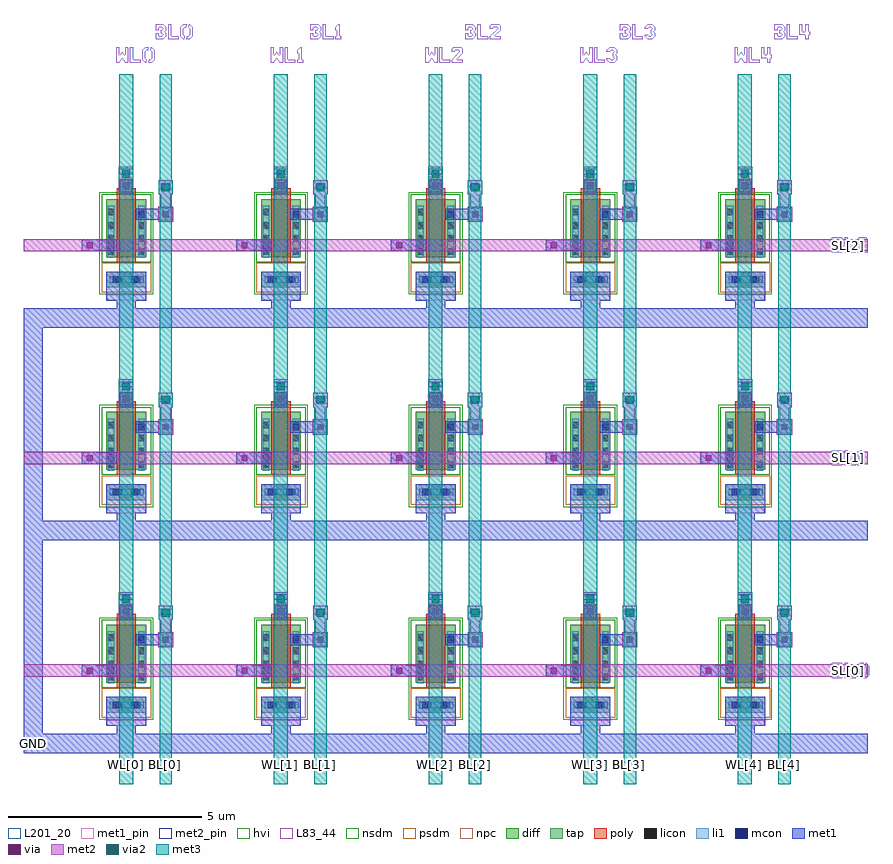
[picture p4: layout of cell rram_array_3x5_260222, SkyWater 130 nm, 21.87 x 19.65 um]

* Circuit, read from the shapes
.subckt rram_array_3x5_260222 BL[0] BL[1] BL[2] BL[3] BL[4] GND SL[0] SL[1] SL[2] WL[0] WL[1] WL[2] WL[3] WL[4]
XM1 BL[0] WL[0] SL[0] GND sky130_fd_pr__nfet_g5v0d10v5 w=1.5 l=0.5
XM2 BL[0] WL[0] SL[1] GND sky130_fd_pr__nfet_g5v0d10v5 w=1.5 l=0.5
XM3 BL[0] WL[0] SL[2] GND sky130_fd_pr__nfet_g5v0d10v5 w=1.5 l=0.5
XM4 BL[1] WL[1] SL[0] GND sky130_fd_pr__nfet_g5v0d10v5 w=1.5 l=0.5
XM5 BL[1] WL[1] SL[1] GND sky130_fd_pr__nfet_g5v0d10v5 w=1.5 l=0.5
XM6 BL[1] WL[1] SL[2] GND sky130_fd_pr__nfet_g5v0d10v5 w=1.5 l=0.5
XM7 BL[2] WL[2] SL[0] GND sky130_fd_pr__nfet_g5v0d10v5 w=1.5 l=0.5
XM8 BL[2] WL[2] SL[1] GND sky130_fd_pr__nfet_g5v0d10v5 w=1.5 l=0.5
XM9 BL[2] WL[2] SL[2] GND sky130_fd_pr__nfet_g5v0d10v5 w=1.5 l=0.5
XM10 BL[3] WL[3] SL[0] GND sky130_fd_pr__nfet_g5v0d10v5 w=1.5 l=0.5
XM11 BL[3] WL[3] SL[1] GND sky130_fd_pr__nfet_g5v0d10v5 w=1.5 l=0.5
XM12 BL[3] WL[3] SL[2] GND sky130_fd_pr__nfet_g5v0d10v5 w=1.5 l=0.5
XM13 BL[4] WL[4] SL[0] GND sky130_fd_pr__nfet_g5v0d10v5 w=1.5 l=0.5
XM14 BL[4] WL[4] SL[1] GND sky130_fd_pr__nfet_g5v0d10v5 w=1.5 l=0.5
XM15 BL[4] WL[4] SL[2] GND sky130_fd_pr__nfet_g5v0d10v5 w=1.5 l=0.5
.ends

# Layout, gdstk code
from math import pi, radians
import gdstk
lib = gdstk.Library(unit=1e-6, precision=1e-09)
def R(c, l, rs):  # rectangles x0, y0, x1, y1
    for r in rs: c.add(gdstk.rectangle(r[:2], r[2:], *l))
def A(c, l, x, y, w, h, nx, ny, dx, dy):  # array of equal rectangles
    R(c, l, [(x+i*dx, y+j*dy, x+i*dx+w, y+j*dy+h) for i in range(nx) for j in range(ny)])
def P(c, l, *ps):  # polygons
    for p in ps: c.add(gdstk.Polygon(p, *l))
diff = (65, 20)
tap = (65, 44)
poly = (66, 20)
licon = (66, 44)
li1 = (67, 20)
mcon = (67, 44)
met1_pin = (68, 16)
met1 = (68, 20)
via = (68, 44)
met2_pin = (69, 16)
met2 = (69, 20)
via2 = (69, 44)
met3 = (70, 20)
hvi = (75, 20)
L83_44 = (83, 44)
nsdm = (93, 44)
psdm = (94, 20)
npc = (95, 20)
L201_20 = (201, 20)

m1m2_c_cdns_630369580172 = lib.new_cell('M1M2_C_CDNS_6303695801725')
R(m1m2_c_cdns_630369580172, met1, [(-0.16,-0.16,0.16,0.16)])
R(m1m2_c_cdns_630369580172, via, [(-0.075,-0.075,0.075,0.075)])
R(m1m2_c_cdns_630369580172, met2, [(-0.16,-0.16,0.16,0.16)])

dfl1sd_cdns_630369580179 = lib.new_cell('DFL1sd_CDNS_630369580179')
R(dfl1sd_cdns_630369580179, diff, [(0,0,0.265,1.5)])
A(dfl1sd_cdns_630369580179, licon, 0.055, 0.06, 0.17, 0.17, 1, 4, 0, 0.34)
R(dfl1sd_cdns_630369580179, li1, [(0.055,-0.02,0.225,1.33)])
R(dfl1sd_cdns_630369580179, nsdm, [(-0.125,-0.125,0.39,1.625)])

nfet_symbolic_cdns_63036 = lib.new_cell('nfet_symbolic_CDNS_630369580178')
R(nfet_symbolic_cdns_63036, diff, [(-0.25,0,0,1.5), (0,0,0.5,1.5), (0.5,0,0.75,1.5)])
R(nfet_symbolic_cdns_63036, poly, [(0,-0.13,0.5,1.63), (0,-0.13,0.5,0), (0,1.5,0.5,1.63)])
R(nfet_symbolic_cdns_63036, li1, [(-0.225,-0.02,-0.055,1.33), (0.555,-0.02,0.725,1.33)])
R(nfet_symbolic_cdns_63036, nsdm, [(-0.25,-0.125,0.75,1.625)])
nfet_symbolic_cdns_63036.add(gdstk.Reference(dfl1sd_cdns_630369580179, (0.5,0)))
nfet_symbolic_cdns_63036.add(gdstk.Reference(dfl1sd_cdns_630369580179, (0,0), rotation=pi, x_reflection=True))
nfet_symbolic_cdns_63036.add(gdstk.Label('D', (0.64,0.655), layer=83, texttype=44))
nfet_symbolic_cdns_63036.add(gdstk.Label('S', (-0.14,0.655), layer=83, texttype=44))

nfet_cdns_630369580177 = lib.new_cell('nfet_CDNS_630369580177')
R(nfet_cdns_630369580177, hvi, [(-0.445,-0.18,0.945,1.68)])
nfet_cdns_630369580177.add(gdstk.Reference(nfet_symbolic_cdns_63036, (0,0)))

l1m1_c_cdns_630369580173 = lib.new_cell('L1M1_C_CDNS_6303695801734')
R(l1m1_c_cdns_630369580173, li1, [(-0.085,-0.085,0.085,0.085)])
R(l1m1_c_cdns_630369580173, mcon, [(-0.085,-0.085,0.085,0.085)])
R(l1m1_c_cdns_630369580173, met1, [(-0.145,-0.145,0.145,0.145)])

pyl1_c_cdns_630369580173 = lib.new_cell('PYL1_C_CDNS_6303695801737')
R(pyl1_c_cdns_630369580173, poly, [(-0.165,-0.165,0.165,0.165)])
R(pyl1_c_cdns_630369580173, licon, [(-0.085,-0.085,0.085,0.085)])
R(pyl1_c_cdns_630369580173, li1, [(-0.165,-0.165,0.165,0.165)])
R(pyl1_c_cdns_630369580173, npc, [(-0.185,-0.185,0.185,0.185)])

l1m1_c_cdns_630369580172 = lib.new_cell('L1M1_C_CDNS_6303695801729')
R(l1m1_c_cdns_630369580172, li1, [(-0.085,-0.085,0.085,0.085)])
R(l1m1_c_cdns_630369580172, mcon, [(-0.085,-0.085,0.085,0.085)])
R(l1m1_c_cdns_630369580172, met1, [(-0.16,-0.16,0.16,0.16)])

sky130_fd_pr_reram__rera = lib.new_cell('sky130_fd_pr_reram__reram_cell')
R(sky130_fd_pr_reram__rera, met1_pin, [(-0.195,-0.195,0.195,0.195)])
R(sky130_fd_pr_reram__rera, met1, [(-0.195,-0.195,0.195,0.195)])
R(sky130_fd_pr_reram__rera, via, [(-0.075,-0.075,0.075,0.075)])
R(sky130_fd_pr_reram__rera, met2_pin, [(-0.195,-0.195,0.195,0.195)])
R(sky130_fd_pr_reram__rera, met2, [(-0.195,-0.195,0.195,0.195)])
R(sky130_fd_pr_reram__rera, L201_20, [(-0.16,-0.16,0.16,0.16)])
sky130_fd_pr_reram__rera.add(gdstk.Label('TE', (0,0), layer=69, texttype=5))
sky130_fd_pr_reram__rera.add(gdstk.Label('BE', (0,0), layer=68, texttype=5))

rram_1t1r_new = lib.new_cell('RRAM_1T1R_new')
R(rram_1t1r_new, tap, [(0.18,-0.6,1.21,-0.19)])
R(rram_1t1r_new, poly, [(0.445,1.81,0.945,1.96)])
R(rram_1t1r_new, licon, [(0.415,-0.48,0.585,-0.31), (0.89,-0.48,1.06,-0.31)])
R(rram_1t1r_new, li1, [(0.27,-0.48,1.15,-0.31)])
R(rram_1t1r_new, mcon, [(0.35,-0.48,0.52,-0.31), (0.83,-0.48,1,-0.31)])
R(rram_1t1r_new, met1_pin, [(0.185,-0.935,1.195,-0.795), (-0.45,0.35,-0.265,0.625)])
R(rram_1t1r_new, met1, [(0.18,-0.94,1.21,-0.19), (-0.46,0.345,0.45,0.635), (0.94,1.145,1.575,1.435)])
R(rram_1t1r_new, met2_pin, [(1.59,1.93,1.835,2.085), (0.51,2.325,0.87,2.465)])
R(rram_1t1r_new, met2, [(1.585,1.445,1.84,2.09), (0.505,1.82,0.875,2.47)])
R(rram_1t1r_new, hvi, [(0,-0.78,1.39,0)])
R(rram_1t1r_new, psdm, [(0.055,-0.725,1.34,0.035)])
rram_1t1r_new.add(gdstk.Reference(m1m2_c_cdns_630369580172, (0.69,2.02)))
rram_1t1r_new.add(gdstk.Reference(nfet_cdns_630369580177, (0.445,0.18)))
rram_1t1r_new.add(gdstk.Reference(l1m1_c_cdns_630369580173, (0.305,0.49)))
rram_1t1r_new.add(gdstk.Reference(l1m1_c_cdns_630369580173, (1.085,1.29)))
rram_1t1r_new.add(gdstk.Reference(pyl1_c_cdns_630369580173, (0.69,2.02)))
rram_1t1r_new.add(gdstk.Reference(l1m1_c_cdns_630369580172, (0.69,2.02)))
rram_1t1r_new.add(gdstk.Reference(sky130_fd_pr_reram__rera, (1.715,1.29)))
rram_1t1r_new.add(gdstk.Label('VWL', (0.69,2.39), layer=69, texttype=16))
rram_1t1r_new.add(gdstk.Label('VBL', (1.71,2.01), layer=69, texttype=16))
rram_1t1r_new.add(gdstk.Label('GND', (0.705,-0.87), layer=68, texttype=16))
rram_1t1r_new.add(gdstk.Label('VS', (-0.35,0.495), layer=68, texttype=16))

via_m2_m3 = lib.new_cell('via_m2_m3')
R(via_m2_m3, met2, [(-0.185,-0.185,0.185,0.185)])
R(via_m2_m3, via2, [(-0.1,-0.1,0.1,0.1)])
R(via_m2_m3, met3, [(-0.185,-0.185,0.185,0.185)])

via_m1_m2 = lib.new_cell('via_m1_m2')
R(via_m1_m2, met1, [(-0.16,-0.16,0.16,0.16)])
R(via_m1_m2, via, [(-0.075,-0.075,0.075,0.075)])
R(via_m1_m2, met2, [(-0.16,-0.16,0.16,0.16)])

text_gdsfactorypcomponen = lib.new_cell('text_gdsfactorypcomponentsptextsptext_TWL0_S0p4_P0_0_Jl_48763778')
P(text_gdsfactorypcomponen, L83_44, [(0.04,0),(0.04,0.4),(0.12,0.4),(0.12,0.16),(0.2,0.28),(0.28,0.16),(0.28,0.4),(0.36,0.4),(0.36,0),(0.28,0),(0.2,0.12),(0.12,0)],
  [(0.4,0),(0.4,0.4),(0.48,0.4),(0.48,0.08),(0.68,0.08),(0.68,0)],
  [(0.8,0),(0.72,0.08),(0.72,0.32),(0.8,0.4),(0.892,0.4),(0.872,0.32),(0.84,0.32),(0.8,0.28),(0.8,0.12),(0.84,0.08),(0.82,0)],
  [(0.868,0),(0.888,0.08),(0.92,0.08),(0.96,0.12),(0.96,0.28),(0.92,0.32),(0.94,0.4),(0.96,0.4),(1.04,0.32),(1.04,0.08),(0.96,0)])

c_text_gdsfactorypcomponen = lib.new_cell('text_gdsfactorypcomponentsptextsptext_TWL1_S0p4_P0_0_Jl_dfcae168')
P(c_text_gdsfactorypcomponen, L83_44, [(0.04,0),(0.04,0.4),(0.12,0.4),(0.12,0.16),(0.2,0.28),(0.28,0.16),(0.28,0.4),(0.36,0.4),(0.36,0),(0.28,0),(0.2,0.12),(0.12,0)],
  [(0.4,0),(0.4,0.4),(0.48,0.4),(0.48,0.08),(0.68,0.08),(0.68,0)],
  [(0.72,0),(0.72,0.08),(0.76,0.08),(0.76,0.24),(0.72,0.24),(0.72,0.32),(0.8,0.4),(0.84,0.4),(0.84,0.08),(0.88,0.08),(0.88,0)])

c_text_gdsfactorypcomponen_ = lib.new_cell('text_gdsfactorypcomponentsptextsptext_TWL2_S0p4_P0_0_Jl_bc1f6423')
P(c_text_gdsfactorypcomponen_, L83_44, [(0.04,0),(0.04,0.4),(0.12,0.4),(0.12,0.16),(0.2,0.28),(0.28,0.16),(0.28,0.4),(0.36,0.4),(0.36,0),(0.28,0),(0.2,0.12),(0.12,0)],
  [(0.4,0),(0.4,0.4),(0.48,0.4),(0.48,0.08),(0.68,0.08),(0.68,0)],
  [(0.72,0),(0.72,0.08),(0.92,0.28),(0.92,0.32),(0.8,0.32),(0.8,0.28),(0.72,0.28),(0.72,0.36),(0.76,0.4),(0.96,0.4),(1,0.36),(1,0.24),(0.84,0.08),(1,0.08),(1,0)])

c_text_gdsfactorypcomponen__ = lib.new_cell('text_gdsfactorypcomponentsptextsptext_TWL3_S0p4_P0_0_Jl_83d8f4f6')
P(c_text_gdsfactorypcomponen__, L83_44, [(0.04,0),(0.04,0.4),(0.12,0.4),(0.12,0.16),(0.2,0.28),(0.28,0.16),(0.28,0.4),(0.36,0.4),(0.36,0),(0.28,0),(0.2,0.12),(0.12,0)],
  [(0.4,0),(0.4,0.4),(0.48,0.4),(0.48,0.08),(0.68,0.08),(0.68,0)],
  [(0.8,0),(0.72,0.08),(0.72,0.12),(0.8,0.12),(0.84,0.08),(0.88,0.08),(0.92,0.12),(0.88,0.16),(0.88,0.24),(0.92,0.28),(0.88,0.32),(0.84,0.32),(0.8,0.28),(0.72,0.28),(0.72,0.32),(0.8,0.4),(0.92,0.4),(1,0.32),(1,0.24),(0.96,0.2),(1,0.16),(1,0.08),(0.92,0)])

c_text_gdsfactorypcomponen___ = lib.new_cell('text_gdsfactorypcomponentsptextsptext_TWL4_S0p4_P0_0_Jl_9684d18e')
P(c_text_gdsfactorypcomponen___, L83_44, [(0.04,0),(0.04,0.4),(0.12,0.4),(0.12,0.16),(0.2,0.28),(0.28,0.16),(0.28,0.4),(0.36,0.4),(0.36,0),(0.28,0),(0.2,0.12),(0.12,0)],
  [(0.4,0),(0.4,0.4),(0.48,0.4),(0.48,0.08),(0.68,0.08),(0.68,0)],
  [(0.88,0),(0.88,0.12),(0.72,0.12),(0.72,0.4),(0.8,0.4),(0.8,0.2),(0.88,0.2),(0.88,0.4),(0.96,0.4),(0.96,0.2),(1,0.2),(1,0.12),(0.96,0.12),(0.96,0)])

c_text_gdsfactorypcomponen____ = lib.new_cell('text_gdsfactorypcomponentsptextsptext_TBL0_S0p4_P0_0_Jl_7cfb7175')
P(c_text_gdsfactorypcomponen____, L83_44, [(0.04,0),(0.04,0.16),(0.12,0.16),(0.12,0.08),(0.2,0.08),(0.24,0.12),(0.2,0.16),(0.168,0.16),(0.168,0.24),(0.2,0.24),(0.24,0.28),(0.2,0.32),(0.12,0.32),(0.12,0.24),(0.04,0.24),(0.04,0.4),(0.24,0.4),(0.32,0.32),(0.32,0.24),(0.28,0.2),(0.32,0.16),(0.32,0.08),(0.24,0)],
  [(0.36,0),(0.36,0.4),(0.44,0.4),(0.44,0.08),(0.64,0.08),(0.64,0)],
  [(0.76,0),(0.68,0.08),(0.68,0.32),(0.76,0.4),(0.852,0.4),(0.832,0.32),(0.8,0.32),(0.76,0.28),(0.76,0.12),(0.8,0.08),(0.78,0)],
  [(0.828,0),(0.848,0.08),(0.88,0.08),(0.92,0.12),(0.92,0.28),(0.88,0.32),(0.9,0.4),(0.92,0.4),(1,0.32),(1,0.08),(0.92,0)])

c_text_gdsfactorypcomponen_____ = lib.new_cell('text_gdsfactorypcomponentsptextsptext_TBL1_S0p4_P0_0_Jl_855cb253')
P(c_text_gdsfactorypcomponen_____, L83_44, [(0.04,0),(0.04,0.16),(0.12,0.16),(0.12,0.08),(0.2,0.08),(0.24,0.12),(0.2,0.16),(0.168,0.16),(0.168,0.24),(0.2,0.24),(0.24,0.28),(0.2,0.32),(0.12,0.32),(0.12,0.24),(0.04,0.24),(0.04,0.4),(0.24,0.4),(0.32,0.32),(0.32,0.24),(0.28,0.2),(0.32,0.16),(0.32,0.08),(0.24,0)],
  [(0.36,0),(0.36,0.4),(0.44,0.4),(0.44,0.08),(0.64,0.08),(0.64,0)],
  [(0.68,0),(0.68,0.08),(0.72,0.08),(0.72,0.24),(0.68,0.24),(0.68,0.32),(0.76,0.4),(0.8,0.4),(0.8,0.08),(0.84,0.08),(0.84,0)])

c_text_gdsfactorypcomponen______ = lib.new_cell('text_gdsfactorypcomponentsptextsptext_TBL2_S0p4_P0_0_Jl_698e9a9f')
P(c_text_gdsfactorypcomponen______, L83_44, [(0.04,0),(0.04,0.16),(0.12,0.16),(0.12,0.08),(0.2,0.08),(0.24,0.12),(0.2,0.16),(0.168,0.16),(0.168,0.24),(0.2,0.24),(0.24,0.28),(0.2,0.32),(0.12,0.32),(0.12,0.24),(0.04,0.24),(0.04,0.4),(0.24,0.4),(0.32,0.32),(0.32,0.24),(0.28,0.2),(0.32,0.16),(0.32,0.08),(0.24,0)],
  [(0.36,0),(0.36,0.4),(0.44,0.4),(0.44,0.08),(0.64,0.08),(0.64,0)],
  [(0.68,0),(0.68,0.08),(0.88,0.28),(0.88,0.32),(0.76,0.32),(0.76,0.28),(0.68,0.28),(0.68,0.36),(0.72,0.4),(0.92,0.4),(0.96,0.36),(0.96,0.24),(0.8,0.08),(0.96,0.08),(0.96,0)])

c_text_gdsfactorypcomponen_______ = lib.new_cell('text_gdsfactorypcomponentsptextsptext_TBL3_S0p4_P0_0_Jl_98192a02')
P(c_text_gdsfactorypcomponen_______, L83_44, [(0.04,0),(0.04,0.16),(0.12,0.16),(0.12,0.08),(0.2,0.08),(0.24,0.12),(0.2,0.16),(0.168,0.16),(0.168,0.24),(0.2,0.24),(0.24,0.28),(0.2,0.32),(0.12,0.32),(0.12,0.24),(0.04,0.24),(0.04,0.4),(0.24,0.4),(0.32,0.32),(0.32,0.24),(0.28,0.2),(0.32,0.16),(0.32,0.08),(0.24,0)],
  [(0.36,0),(0.36,0.4),(0.44,0.4),(0.44,0.08),(0.64,0.08),(0.64,0)],
  [(0.76,0),(0.68,0.08),(0.68,0.12),(0.76,0.12),(0.8,0.08),(0.84,0.08),(0.88,0.12),(0.84,0.16),(0.84,0.24),(0.88,0.28),(0.84,0.32),(0.8,0.32),(0.76,0.28),(0.68,0.28),(0.68,0.32),(0.76,0.4),(0.88,0.4),(0.96,0.32),(0.96,0.24),(0.92,0.2),(0.96,0.16),(0.96,0.08),(0.88,0)])

c_text_gdsfactorypcomponen________ = lib.new_cell('text_gdsfactorypcomponentsptextsptext_TBL4_S0p4_P0_0_Jl_cce5fcf5')
P(c_text_gdsfactorypcomponen________, L83_44, [(0.04,0),(0.04,0.16),(0.12,0.16),(0.12,0.08),(0.2,0.08),(0.24,0.12),(0.2,0.16),(0.168,0.16),(0.168,0.24),(0.2,0.24),(0.24,0.28),(0.2,0.32),(0.12,0.32),(0.12,0.24),(0.04,0.24),(0.04,0.4),(0.24,0.4),(0.32,0.32),(0.32,0.24),(0.28,0.2),(0.32,0.16),(0.32,0.08),(0.24,0)],
  [(0.36,0),(0.36,0.4),(0.44,0.4),(0.44,0.08),(0.64,0.08),(0.64,0)],
  [(0.84,0),(0.84,0.12),(0.68,0.12),(0.68,0.4),(0.76,0.4),(0.76,0.2),(0.84,0.2),(0.84,0.4),(0.92,0.4),(0.92,0.2),(0.96,0.2),(0.96,0.12),(0.92,0.12),(0.92,0)])

c_text_gdsfactorypcomponen_________ = lib.new_cell('text_gdsfactorypcomponentsptextsptext_TSL0_S0p4_P0_0_Jl_2b7cb08e')
P(c_text_gdsfactorypcomponen_________, L83_44, [(0.08,0),(0.04,0.04),(0.04,0.08),(0.28,0.08),(0.28,0.16),(0.08,0.16),(0.04,0.2),(0.04,0.36),(0.08,0.4),(0.32,0.4),(0.36,0.36),(0.36,0.32),(0.12,0.32),(0.12,0.24),(0.32,0.24),(0.36,0.2),(0.36,0.04),(0.32,0)],
  [(0.4,0),(0.4,0.4),(0.48,0.4),(0.48,0.08),(0.68,0.08),(0.68,0)],
  [(0.8,0),(0.72,0.08),(0.72,0.32),(0.8,0.4),(0.892,0.4),(0.872,0.32),(0.84,0.32),(0.8,0.28),(0.8,0.12),(0.84,0.08),(0.82,0)],
  [(0.868,0),(0.888,0.08),(0.92,0.08),(0.96,0.12),(0.96,0.28),(0.92,0.32),(0.94,0.4),(0.96,0.4),(1.04,0.32),(1.04,0.08),(0.96,0)])

c_text_gdsfactorypcomponen__________ = lib.new_cell('text_gdsfactorypcomponentsptextsptext_TSL1_S0p4_P0_0_Jl_b5906cb0')
P(c_text_gdsfactorypcomponen__________, L83_44, [(0.08,0),(0.04,0.04),(0.04,0.08),(0.28,0.08),(0.28,0.16),(0.08,0.16),(0.04,0.2),(0.04,0.36),(0.08,0.4),(0.32,0.4),(0.36,0.36),(0.36,0.32),(0.12,0.32),(0.12,0.24),(0.32,0.24),(0.36,0.2),(0.36,0.04),(0.32,0)],
  [(0.4,0),(0.4,0.4),(0.48,0.4),(0.48,0.08),(0.68,0.08),(0.68,0)],
  [(0.72,0),(0.72,0.08),(0.76,0.08),(0.76,0.24),(0.72,0.24),(0.72,0.32),(0.8,0.4),(0.84,0.4),(0.84,0.08),(0.88,0.08),(0.88,0)])

c_text_gdsfactorypcomponen___________ = lib.new_cell('text_gdsfactorypcomponentsptextsptext_TSL2_S0p4_P0_0_Jl_85efe05b')
P(c_text_gdsfactorypcomponen___________, L83_44, [(0.08,0),(0.04,0.04),(0.04,0.08),(0.28,0.08),(0.28,0.16),(0.08,0.16),(0.04,0.2),(0.04,0.36),(0.08,0.4),(0.32,0.4),(0.36,0.36),(0.36,0.32),(0.12,0.32),(0.12,0.24),(0.32,0.24),(0.36,0.2),(0.36,0.04),(0.32,0)],
  [(0.4,0),(0.4,0.4),(0.48,0.4),(0.48,0.08),(0.68,0.08),(0.68,0)],
  [(0.72,0),(0.72,0.08),(0.92,0.28),(0.92,0.32),(0.8,0.32),(0.8,0.28),(0.72,0.28),(0.72,0.36),(0.76,0.4),(0.96,0.4),(1,0.36),(1,0.24),(0.84,0.08),(1,0.08),(1,0)])

rram_array_3x5_260222 = lib.new_cell('rram_array_3x5_260222')
A(rram_array_3x5_260222, met1, 1.5, 2.3, 21.83, 0.5, 1, 3, 0, 5.5)
A(rram_array_3x5_260222, met1, 3.905, 2.35, 0.5, 0.75, 5, 3, 4, 5.5)
R(rram_array_3x5_260222, met1, [(1.5,2.3,2,13.8)])
A(rram_array_3x5_260222, met2, 1.5, 4.27, 21.83, 0.32, 1, 3, 0, 5.5)
A(rram_array_3x5_260222, met3, 3.97, 1.5, 0.36, 18.35, 5, 1, 4, 0)
A(rram_array_3x5_260222, met3, 5.015, 1.5, 0.32, 18.35, 5, 1, 4, 0)
rram_array_3x5_260222.add(gdstk.Reference(rram_1t1r_new, (3.46,3.94)))
rram_array_3x5_260222.add(gdstk.Reference(rram_1t1r_new, (7.46,3.94)))
rram_array_3x5_260222.add(gdstk.Reference(rram_1t1r_new, (11.46,3.94)))
rram_array_3x5_260222.add(gdstk.Reference(rram_1t1r_new, (15.46,3.94)))
rram_array_3x5_260222.add(gdstk.Reference(rram_1t1r_new, (19.46,3.94)))
rram_array_3x5_260222.add(gdstk.Reference(rram_1t1r_new, (3.46,9.44)))
rram_array_3x5_260222.add(gdstk.Reference(rram_1t1r_new, (7.46,9.44)))
rram_array_3x5_260222.add(gdstk.Reference(rram_1t1r_new, (11.46,9.44)))
rram_array_3x5_260222.add(gdstk.Reference(rram_1t1r_new, (15.46,9.44)))
rram_array_3x5_260222.add(gdstk.Reference(rram_1t1r_new, (19.46,9.44)))
rram_array_3x5_260222.add(gdstk.Reference(rram_1t1r_new, (3.46,14.94)))
rram_array_3x5_260222.add(gdstk.Reference(rram_1t1r_new, (7.46,14.94)))
rram_array_3x5_260222.add(gdstk.Reference(rram_1t1r_new, (11.46,14.94)))
rram_array_3x5_260222.add(gdstk.Reference(rram_1t1r_new, (15.46,14.94)))
rram_array_3x5_260222.add(gdstk.Reference(rram_1t1r_new, (19.46,14.94)))
rram_array_3x5_260222.add(gdstk.Reference(via_m2_m3, (4.15,6.275)))
rram_array_3x5_260222.add(gdstk.Reference(via_m2_m3, (4.15,11.775)))
rram_array_3x5_260222.add(gdstk.Reference(via_m2_m3, (4.15,17.275)))
rram_array_3x5_260222.add(gdstk.Reference(via_m2_m3, (8.15,6.275)))
rram_array_3x5_260222.add(gdstk.Reference(via_m2_m3, (8.15,11.775)))
rram_array_3x5_260222.add(gdstk.Reference(via_m2_m3, (8.15,17.275)))
rram_array_3x5_260222.add(gdstk.Reference(via_m2_m3, (12.15,6.275)))
rram_array_3x5_260222.add(gdstk.Reference(via_m2_m3, (12.15,11.775)))
rram_array_3x5_260222.add(gdstk.Reference(via_m2_m3, (12.15,17.275)))
rram_array_3x5_260222.add(gdstk.Reference(via_m2_m3, (16.15,6.275)))
rram_array_3x5_260222.add(gdstk.Reference(via_m2_m3, (16.15,11.775)))
rram_array_3x5_260222.add(gdstk.Reference(via_m2_m3, (16.15,17.275)))
rram_array_3x5_260222.add(gdstk.Reference(via_m2_m3, (20.15,6.275)))
rram_array_3x5_260222.add(gdstk.Reference(via_m2_m3, (20.15,11.775)))
rram_array_3x5_260222.add(gdstk.Reference(via_m2_m3, (20.15,17.275)))
rram_array_3x5_260222.add(gdstk.Reference(via_m2_m3, (5.175,5.93)))
rram_array_3x5_260222.add(gdstk.Reference(via_m2_m3, (5.175,11.43)))
rram_array_3x5_260222.add(gdstk.Reference(via_m2_m3, (5.175,16.93)))
rram_array_3x5_260222.add(gdstk.Reference(via_m2_m3, (9.175,5.93)))
rram_array_3x5_260222.add(gdstk.Reference(via_m2_m3, (9.175,11.43)))
rram_array_3x5_260222.add(gdstk.Reference(via_m2_m3, (9.175,16.93)))
rram_array_3x5_260222.add(gdstk.Reference(via_m2_m3, (13.175,5.93)))
rram_array_3x5_260222.add(gdstk.Reference(via_m2_m3, (13.175,11.43)))
rram_array_3x5_260222.add(gdstk.Reference(via_m2_m3, (13.175,16.93)))
rram_array_3x5_260222.add(gdstk.Reference(via_m2_m3, (17.175,5.93)))
rram_array_3x5_260222.add(gdstk.Reference(via_m2_m3, (17.175,11.43)))
rram_array_3x5_260222.add(gdstk.Reference(via_m2_m3, (17.175,16.93)))
rram_array_3x5_260222.add(gdstk.Reference(via_m2_m3, (21.175,5.93)))
rram_array_3x5_260222.add(gdstk.Reference(via_m2_m3, (21.175,11.43)))
rram_array_3x5_260222.add(gdstk.Reference(via_m2_m3, (21.175,16.93)))
rram_array_3x5_260222.add(gdstk.Reference(via_m1_m2, (3.21,4.43)))
rram_array_3x5_260222.add(gdstk.Reference(via_m1_m2, (7.21,4.43)))
rram_array_3x5_260222.add(gdstk.Reference(via_m1_m2, (11.21,4.43)))
rram_array_3x5_260222.add(gdstk.Reference(via_m1_m2, (15.21,4.43)))
rram_array_3x5_260222.add(gdstk.Reference(via_m1_m2, (19.21,4.43)))
rram_array_3x5_260222.add(gdstk.Reference(via_m1_m2, (3.21,9.93)))
rram_array_3x5_260222.add(gdstk.Reference(via_m1_m2, (7.21,9.93)))
rram_array_3x5_260222.add(gdstk.Reference(via_m1_m2, (11.21,9.93)))
rram_array_3x5_260222.add(gdstk.Reference(via_m1_m2, (15.21,9.93)))
rram_array_3x5_260222.add(gdstk.Reference(via_m1_m2, (19.21,9.93)))
rram_array_3x5_260222.add(gdstk.Reference(via_m1_m2, (3.21,15.43)))
rram_array_3x5_260222.add(gdstk.Reference(via_m1_m2, (7.21,15.43)))
rram_array_3x5_260222.add(gdstk.Reference(via_m1_m2, (11.21,15.43)))
rram_array_3x5_260222.add(gdstk.Reference(via_m1_m2, (15.21,15.43)))
rram_array_3x5_260222.add(gdstk.Reference(via_m1_m2, (19.21,15.43)))
rram_array_3x5_260222.add(gdstk.Reference(text_gdsfactorypcomponen, (3.85,20.15)))
rram_array_3x5_260222.add(gdstk.Reference(c_text_gdsfactorypcomponen, (7.85,20.15)))
rram_array_3x5_260222.add(gdstk.Reference(c_text_gdsfactorypcomponen_, (11.85,20.15)))
rram_array_3x5_260222.add(gdstk.Reference(c_text_gdsfactorypcomponen__, (15.85,20.15)))
rram_array_3x5_260222.add(gdstk.Reference(c_text_gdsfactorypcomponen___, (19.85,20.15)))
rram_array_3x5_260222.add(gdstk.Reference(c_text_gdsfactorypcomponen____, (4.875,20.75)))
rram_array_3x5_260222.add(gdstk.Reference(c_text_gdsfactorypcomponen_____, (8.875,20.75)))
rram_array_3x5_260222.add(gdstk.Reference(c_text_gdsfactorypcomponen______, (12.875,20.75)))
rram_array_3x5_260222.add(gdstk.Reference(c_text_gdsfactorypcomponen_______, (16.875,20.75)))
rram_array_3x5_260222.add(gdstk.Reference(c_text_gdsfactorypcomponen________, (20.875,20.75)))
rram_array_3x5_260222.add(gdstk.Reference(c_text_gdsfactorypcomponen_________, (22.33,4.23)))
rram_array_3x5_260222.add(gdstk.Reference(c_text_gdsfactorypcomponen__________, (22.33,9.73)))
rram_array_3x5_260222.add(gdstk.Reference(c_text_gdsfactorypcomponen___________, (22.33,15.23)))
rram_array_3x5_260222.add(gdstk.Label('SL[0]', (22.83,4.43), layer=69, texttype=5))
rram_array_3x5_260222.add(gdstk.Label('SL[1]', (22.83,9.93), layer=69, texttype=5))
rram_array_3x5_260222.add(gdstk.Label('SL[2]', (22.83,15.43), layer=69, texttype=5))
rram_array_3x5_260222.add(gdstk.Label('GND', (1.75,2.55), layer=68, texttype=5))
rram_array_3x5_260222.add(gdstk.Label('WL[0]', (4.15,2), layer=70, texttype=5))
rram_array_3x5_260222.add(gdstk.Label('WL[1]', (8.15,2), layer=70, texttype=5))
rram_array_3x5_260222.add(gdstk.Label('WL[2]', (12.15,2), layer=70, texttype=5))
rram_array_3x5_260222.add(gdstk.Label('WL[3]', (16.15,2), layer=70, texttype=5))
rram_array_3x5_260222.add(gdstk.Label('WL[4]', (20.15,2), layer=70, texttype=5))
rram_array_3x5_260222.add(gdstk.Label('BL[0]', (5.175,2), layer=70, texttype=5))
rram_array_3x5_260222.add(gdstk.Label('BL[1]', (9.175,2), layer=70, texttype=5))
rram_array_3x5_260222.add(gdstk.Label('BL[2]', (13.175,2), layer=70, texttype=5))
rram_array_3x5_260222.add(gdstk.Label('BL[3]', (17.175,2), layer=70, texttype=5))
rram_array_3x5_260222.add(gdstk.Label('BL[4]', (21.175,2), layer=70, texttype=5))

lib.write_gds('rram_array_3x5_260222.gds')
